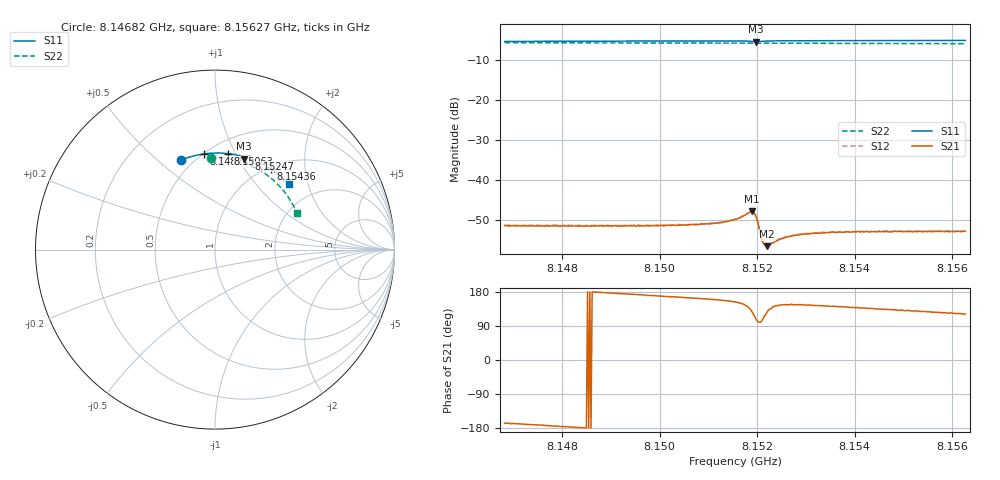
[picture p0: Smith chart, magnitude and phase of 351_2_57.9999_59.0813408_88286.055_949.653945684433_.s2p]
#  HZ  S  RI  R  50.00
! Rohde & Schwarz Vector Network Analyzer
! Rohde-Schwarz,ZNB20-2Port,1311601062101988,3.16
! Created: UTC 3/21/2024, 1:06:01 AM
! freq[Hz]  re:S11  im:S11  re:S21  im:S21  re:S12  im:S12  re:S22  im:S22
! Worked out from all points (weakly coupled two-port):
!   401 points, 8.14682 GHz to 8.15627 GHz, reference 50 ohm
!   highest |S21| = -47.96 dB at 8.1519 GHz (marker M1); lowest = -56.7 dB at 8.15221 GHz (marker M2)
!   lowest |S11| = -5.5 dB at 8.15197 GHz (marker M3), VSWR 3.26, Z = 37.3 + j52.5 ohm
!   |S11| at or under -10 dB: nowhere
!   |S22| runs from -6.0 to -5.8 dB; largest |S21 - S12| = 0.00012
!   S11 on the Smith chart (normalised r, x): 8.14682 GHz: 0.43, +0.60; 8.14874 GHz: 0.51, +0.76; 8.15063 GHz: 0.62, +0.93; 8.15247 GHz: 0.77, +1.11; 8.15436 GHz: 1.03, +1.32; 8.15627 GHz: 1.45, +1.51
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8.146823e9  -0.1888 0.4988  -0.00258 -0.000616  -0.00262 -0.000571  -0.0218 0.5131
8.148406e9  -0.0826 0.5299  -0.00261 -8.35e-05  -0.00267 -8.78e-06  0.0811 0.5054
8.148736e9  -0.06 0.5336  -0.00264 6.01e-05  -0.00267 0.000119  0.1022 0.501
8.149988e9  0.027 0.5384  -0.00261 0.00053  -0.00266 0.000526  0.1794 0.4772
8.150626e9  0.0715 0.5354  -0.00263 0.000773  -0.00261 0.000787  0.2169 0.4603
8.151169e9  0.1094 0.5296  -0.00266 0.00104  -0.00266 0.00107  0.2473 0.4437
8.151547e9  0.1361 0.5231  -0.00284 0.00143  -0.00278 0.00148  0.2677 0.431
8.151855e9  0.1579 0.5122  -0.00276 0.00276  -0.00273 0.00284  0.284 0.4197
8.151902e9  0.1595 0.5088  -0.00235 0.00324  -0.00233 0.00326  0.2862 0.418
8.151949e9  0.1595 0.5063  -0.0016 0.0034  -0.00156 0.00346  0.2885 0.4161
8.151973e9  0.1589 0.506  -0.00115 0.00334  -0.00113 0.00337  0.2895 0.4153
8.151996e9  0.1585 0.5061  -0.00079 0.0031  -0.000748 0.00315  0.2907 0.4145
8.152114e9  0.1634 0.5108  -0.000488 0.00159  -0.000467 0.00163  0.2968 0.4103
8.152162e9  0.1673 0.5115  -0.000699 0.00131  -0.0007 0.00137  0.2993 0.4083
8.152209e9  0.1713 0.5114  -0.00089 0.00117  -0.000914 0.00119  0.3016 0.4066
8.152469e9  0.1909 0.5073  -0.00149 0.00104  -0.00147 0.00103  0.3146 0.3964
8.152752e9  0.2102 0.5006  -0.00167 0.00112  -0.00166 0.0011  0.3281 0.3846
8.15313e9  0.235 0.4903  -0.00173 0.00124  -0.00172 0.00124  0.3456 0.3681
8.153532e9  0.2601 0.4781  -0.00173 0.00137  -0.0017 0.0014  0.363 0.3498
8.154359e9  0.3095 0.4493  -0.0016 0.00155  -0.00158 0.00157  0.3961 0.3098
8.154713e9  0.3297 0.4352  -0.00155 0.00162  -0.00152 0.00165  0.4088 0.2916
8.156272e9  0.4095 0.364  -0.00117 0.00192  -0.00116 0.00193  0.4548 0.2064
